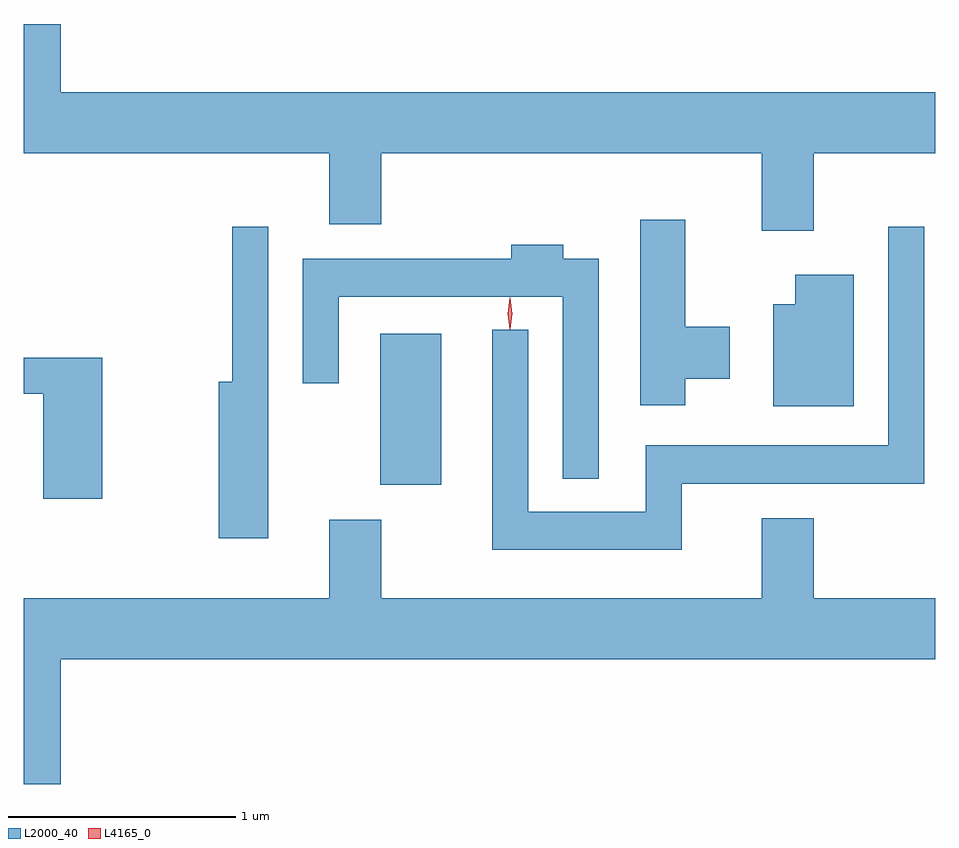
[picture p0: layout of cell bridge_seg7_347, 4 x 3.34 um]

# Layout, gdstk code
import gdstk
lib = gdstk.Library(unit=1e-6, precision=1e-09)
def R(c, l, rs):  # rectangles x0, y0, x1, y1
    for r in rs: c.add(gdstk.rectangle(r[:2], r[2:], *l))
def P(c, l, *ps):  # polygons
    for p in ps: c.add(gdstk.Polygon(p, *l))
L2000_40 = (2000, 40)
L4165_0 = (4165, 0)

bridge_seg7_347 = lib.new_cell('bridge_seg7_347')
R(bridge_seg7_347, L2000_40, [(1095.866,1750.601,1096.134,1751.264)])
P(bridge_seg7_347, L2000_40, [(1097.769,1752.056),(1098.301,1752.056),(1098.301,1752.324),(1094.464,1752.324),(1094.464,1752.624),(1094.301,1752.624),(1094.301,1752.056),(1095.641,1752.056),(1095.641,1751.746),(1095.869,1751.746),(1095.869,1752.056),(1097.541,1752.056),(1097.541,1751.716),(1097.769,1751.716)],
  [(1097.204,1751.066),(1097.399,1751.066),(1097.399,1751.294),(1097.204,1751.294),(1097.204,1751.764),(1097.006,1751.764),(1097.006,1750.951),(1097.204,1750.951)],
  [(1097.189,1750.606),(1098.254,1750.606),(1098.254,1751.733),(1098.096,1751.733),(1098.096,1750.774),(1097.031,1750.774),(1097.031,1750.484),(1096.514,1750.484),(1096.514,1751.283),(1096.356,1751.283),(1096.356,1750.316),(1097.189,1750.316)],
  [(1095.374,1751.733),(1095.216,1751.733),(1095.216,1751.054),(1095.156,1751.054),(1095.156,1750.366),(1095.374,1750.366)],
  [(1096.824,1751.594),(1096.669,1751.594),(1096.669,1751.654),(1096.441,1751.654),(1096.441,1751.594),(1095.526,1751.594),(1095.526,1751.048),(1095.684,1751.048),(1095.684,1751.426),(1096.666,1751.426),(1096.666,1750.628),(1096.824,1750.628)],
  [(1097.944,1751.524),(1097.686,1751.524),(1097.686,1751.394),(1097.591,1751.394),(1097.591,1750.946),(1097.944,1750.946)],
  [(1094.644,1751.159),(1094.301,1751.159),(1094.301,1751.001),(1094.386,1751.001),(1094.386,1750.541),(1094.644,1750.541)],
  [(1094.464,1749.836),(1098.301,1749.836),(1098.301,1750.104),(1097.769,1750.104),(1097.769,1750.454),(1097.541,1750.454),(1097.541,1750.104),(1095.869,1750.104),(1095.869,1750.449),(1095.641,1750.449),(1095.641,1750.104),(1094.301,1750.104),(1094.301,1749.288),(1094.464,1749.288)])
P(bridge_seg7_347, L4165_0, [(1096.434,1751.284),(1096.434,1751.284),(1096.424,1751.353),(1096.434,1751.422),(1096.434,1751.423),(1096.435,1751.422),(1096.444,1751.353),(1096.435,1751.284)])

lib.write_gds('bridge_seg7_347.gds')
